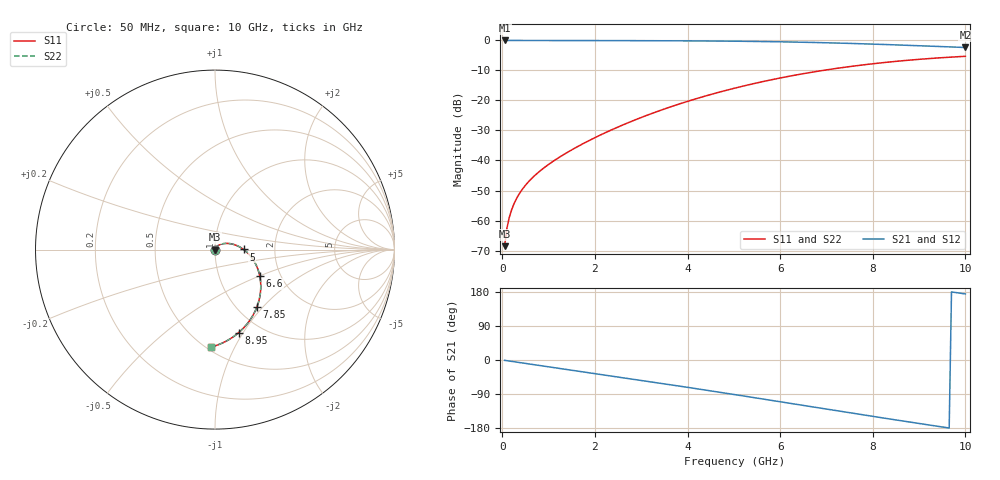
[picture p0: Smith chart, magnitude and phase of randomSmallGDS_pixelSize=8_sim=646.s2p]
! freq	dB(S11)	phase(S11)	dB(S12)	phase(S12)
!  dB(S21)	phase(S21)	dB(S22)	phase(S22)
!S-par simulation data
#  GHz  S  DB  R 50
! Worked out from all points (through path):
!   200 points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, 50 MHz to 10 GHz, reference 50 ohm
!   highest |S21| = 0.00 dB at 50 MHz (marker M1); lowest = -2.3 dB at 10 GHz (marker M2)
!   group delay of S21, straight-line fit = 52.1 ps
!   lowest |S11| = -68.5 dB at 50 MHz (marker M3), VSWR 1.00, Z = 50 + j0.0372 ohm
!   |S11| at or under -10 dB: start of sweep to 6.918 GHz
!   |S22| runs from -68.5 to -5.3 dB; largest |S21 - S12| = 0
!   S11 on the Smith chart (normalised r, x): 50 MHz: 1.00, +0.00; 5 GHz: 1.38, +0.00; 6.6 GHz: 1.57, -0.50; 7.85 GHz: 1.22, -0.93; 8.95 GHz: 0.79, -0.96; 10 GHz: 0.52, -0.81
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0.05  -68.55 83.8  -0.00 -0.9  -0.00 -0.9  -68.55 83.8
0.1  -62.55 85.7  -0.00 -1.8  -0.00 -1.8  -62.55 85.7
0.15  -59.01 85.8  -0.00 -2.7  -0.00 -2.7  -59.01 85.8
0.2  -56.49 85.4  -0.00 -3.6  -0.00 -3.6  -56.49 85.5
0.3  -52.90 84.3  -0.00 -5.4  -0.00 -5.4  -52.90 84.3
0.45  -49.23 82.1  -0.01 -8.1  -0.01 -8.1  -49.23 82.2
0.65  -45.75 79.1  -0.01 -11.6  -0.01 -11.6  -45.75 79.1
0.95  -41.87 74.2  -0.02 -16.9  -0.02 -16.9  -41.87 74.3
1.75  -34.34 60.6  -0.04 -31.2  -0.04 -31.2  -34.34 60.7
2.55  -28.50 46.2  -0.06 -45.5  -0.06 -45.5  -28.50 46.3
3.4  -23.37 30.5  -0.09 -61.0  -0.09 -61.0  -23.37 30.6
4.2  -19.35 15.5  -0.15 -75.8  -0.15 -75.8  -19.35 15.6
5  -15.97 0.4  -0.24 -90.9  -0.24 -90.9  -15.97 0.4
5.05  -15.77 -0.6  -0.25 -91.9  -0.25 -91.9  -15.77 -0.5
5.8  -13.14 -14.9  -0.40 -106.2  -0.40 -106.2  -13.13 -14.9
6.6  -10.80 -30.3  -0.63 -121.7  -0.63 -121.7  -10.80 -30.2
6.7  -10.54 -32.2  -0.66 -123.7  -0.66 -123.7  -10.54 -32.2
7.3  -9.13 -43.7  -0.89 -135.3  -0.89 -135.3  -9.13 -43.6
7.85  -8.03 -54.0  -1.14 -145.9  -1.14 -145.9  -8.03 -54.0
8.35  -7.19 -63.3  -1.39 -155.4  -1.39 -155.4  -7.19 -63.3
8.95  -6.35 -74.2  -1.73 -166.6  -1.73 -166.6  -6.35 -74.2
10  -5.29 -92.6  -2.35 174.3  -2.35 174.3  -5.29 -92.5
